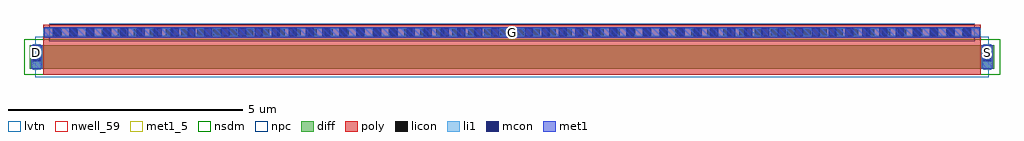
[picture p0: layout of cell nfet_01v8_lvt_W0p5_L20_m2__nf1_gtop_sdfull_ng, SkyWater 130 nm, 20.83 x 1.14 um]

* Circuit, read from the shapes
.subckt nfet_01v8_lvt_W0p5_L20_m2__nf1_gtop_sdfull_ng B D G S
XM1 S G D B sky130_fd_pr__nfet_01v8_lvt w=0.5 l=20
.ends

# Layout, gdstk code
import gdstk
lib = gdstk.Library(unit=1e-6, precision=1e-09)
def R(c, l, rs):  # rectangles x0, y0, x1, y1
    for r in rs: c.add(gdstk.rectangle(r[:2], r[2:], *l))
def A(c, l, x, y, w, h, nx, ny, dx, dy):  # array of equal rectangles
    R(c, l, [(x+i*dx, y+j*dy, x+i*dx+w, y+j*dy+h) for i in range(nx) for j in range(ny)])
nwell_59 = (64, 59)
diff = (65, 20)
poly = (66, 20)
licon = (66, 44)
li1 = (67, 20)
mcon = (67, 44)
met1_5 = (68, 5)
met1 = (68, 20)
nsdm = (93, 44)
npc = (95, 20)
lvtn = (125, 44)

sky130_fd_pr__nfet_01v8_ = lib.new_cell('sky130_fd_pr__nfet_01v8_lvt_EWBK5G')
R(sky130_fd_pr__nfet_01v8_, diff, [(-10.29,-0.405,10.29,0.095)])
R(sky130_fd_pr__nfet_01v8_, poly, [(-10,-0.535,10,0.535)])
A(sky130_fd_pr__nfet_01v8_, licon, -9.775, 0.285, 0.17, 0.17, 58, 1, 0.34, 0)
R(sky130_fd_pr__nfet_01v8_, licon, [(-10.23,-0.24,-10.06,-0.07), (10.06,-0.24,10.23,-0.07)])
R(sky130_fd_pr__nfet_01v8_, li1, [(-10.23,-0.425,-10.06,0.115), (10.06,-0.425,10.23,0.115), (-10,0.285,10,0.455)])
A(sky130_fd_pr__nfet_01v8_, mcon, -9.805, 0.285, 0.17, 0.17, 55, 1, 0.36, 0)
R(sky130_fd_pr__nfet_01v8_, mcon, [(-10.23,-0.24,-10.06,-0.07), (10.06,-0.24,10.23,-0.07)])
R(sky130_fd_pr__nfet_01v8_, met1, [(-10.26,-0.405,-10.03,0.095), (10.03,-0.405,10.26,0.095), (-9.98,0.255,9.98,0.485)])
R(sky130_fd_pr__nfet_01v8_, nsdm, [(-10.415,-0.53,10.415,0.22)])
R(sky130_fd_pr__nfet_01v8_, npc, [(-9.875,0.185,9.875,0.555)])
R(sky130_fd_pr__nfet_01v8_, lvtn, [(-10.18,-0.585,10.18,0.275)])
sky130_fd_pr__nfet_01v8_.add(gdstk.Label('D', (-10.145,-0.155), layer=67, texttype=5))
sky130_fd_pr__nfet_01v8_.add(gdstk.Label('S', (10.145,-0.155), layer=67, texttype=5))
sky130_fd_pr__nfet_01v8_.add(gdstk.Label('G', (0,0.37), layer=67, texttype=5))

nfet_01v8_lvt_w0p5_l20_m = lib.new_cell('nfet_01v8_lvt_W0p5_L20_m2__nf1_gtop_sdfull_ng')
R(nfet_01v8_lvt_w0p5_l20_m, nwell_59, [(0.05,0.33,0.15,0.43)])
R(nfet_01v8_lvt_w0p5_l20_m, met1_5, [(0.03,0.38,0.26,0.58), (20.32,0.38,20.55,0.58), (0.31,0.79,20.27,1.02)])
R(nfet_01v8_lvt_w0p5_l20_m, met1, [(0.03,0.38,0.26,0.58), (20.32,0.38,20.55,0.58), (0.31,0.79,20.27,1.02)])
nfet_01v8_lvt_w0p5_l20_m.add(gdstk.Reference(sky130_fd_pr__nfet_01v8_, (10.29,0.535)))
nfet_01v8_lvt_w0p5_l20_m.add(gdstk.Label('D', (0.145,0.48), layer=68, texttype=5))
nfet_01v8_lvt_w0p5_l20_m.add(gdstk.Label('S', (20.435,0.48), layer=68, texttype=5))
nfet_01v8_lvt_w0p5_l20_m.add(gdstk.Label('G', (10.29,0.905), layer=68, texttype=5))
nfet_01v8_lvt_w0p5_l20_m.add(gdstk.Label('B', (0.1,0.38), layer=64, texttype=59))

lib.write_gds('nfet_01v8_lvt_W0p5_L20_m2__nf1_gtop_sdfull_ng.gds')
